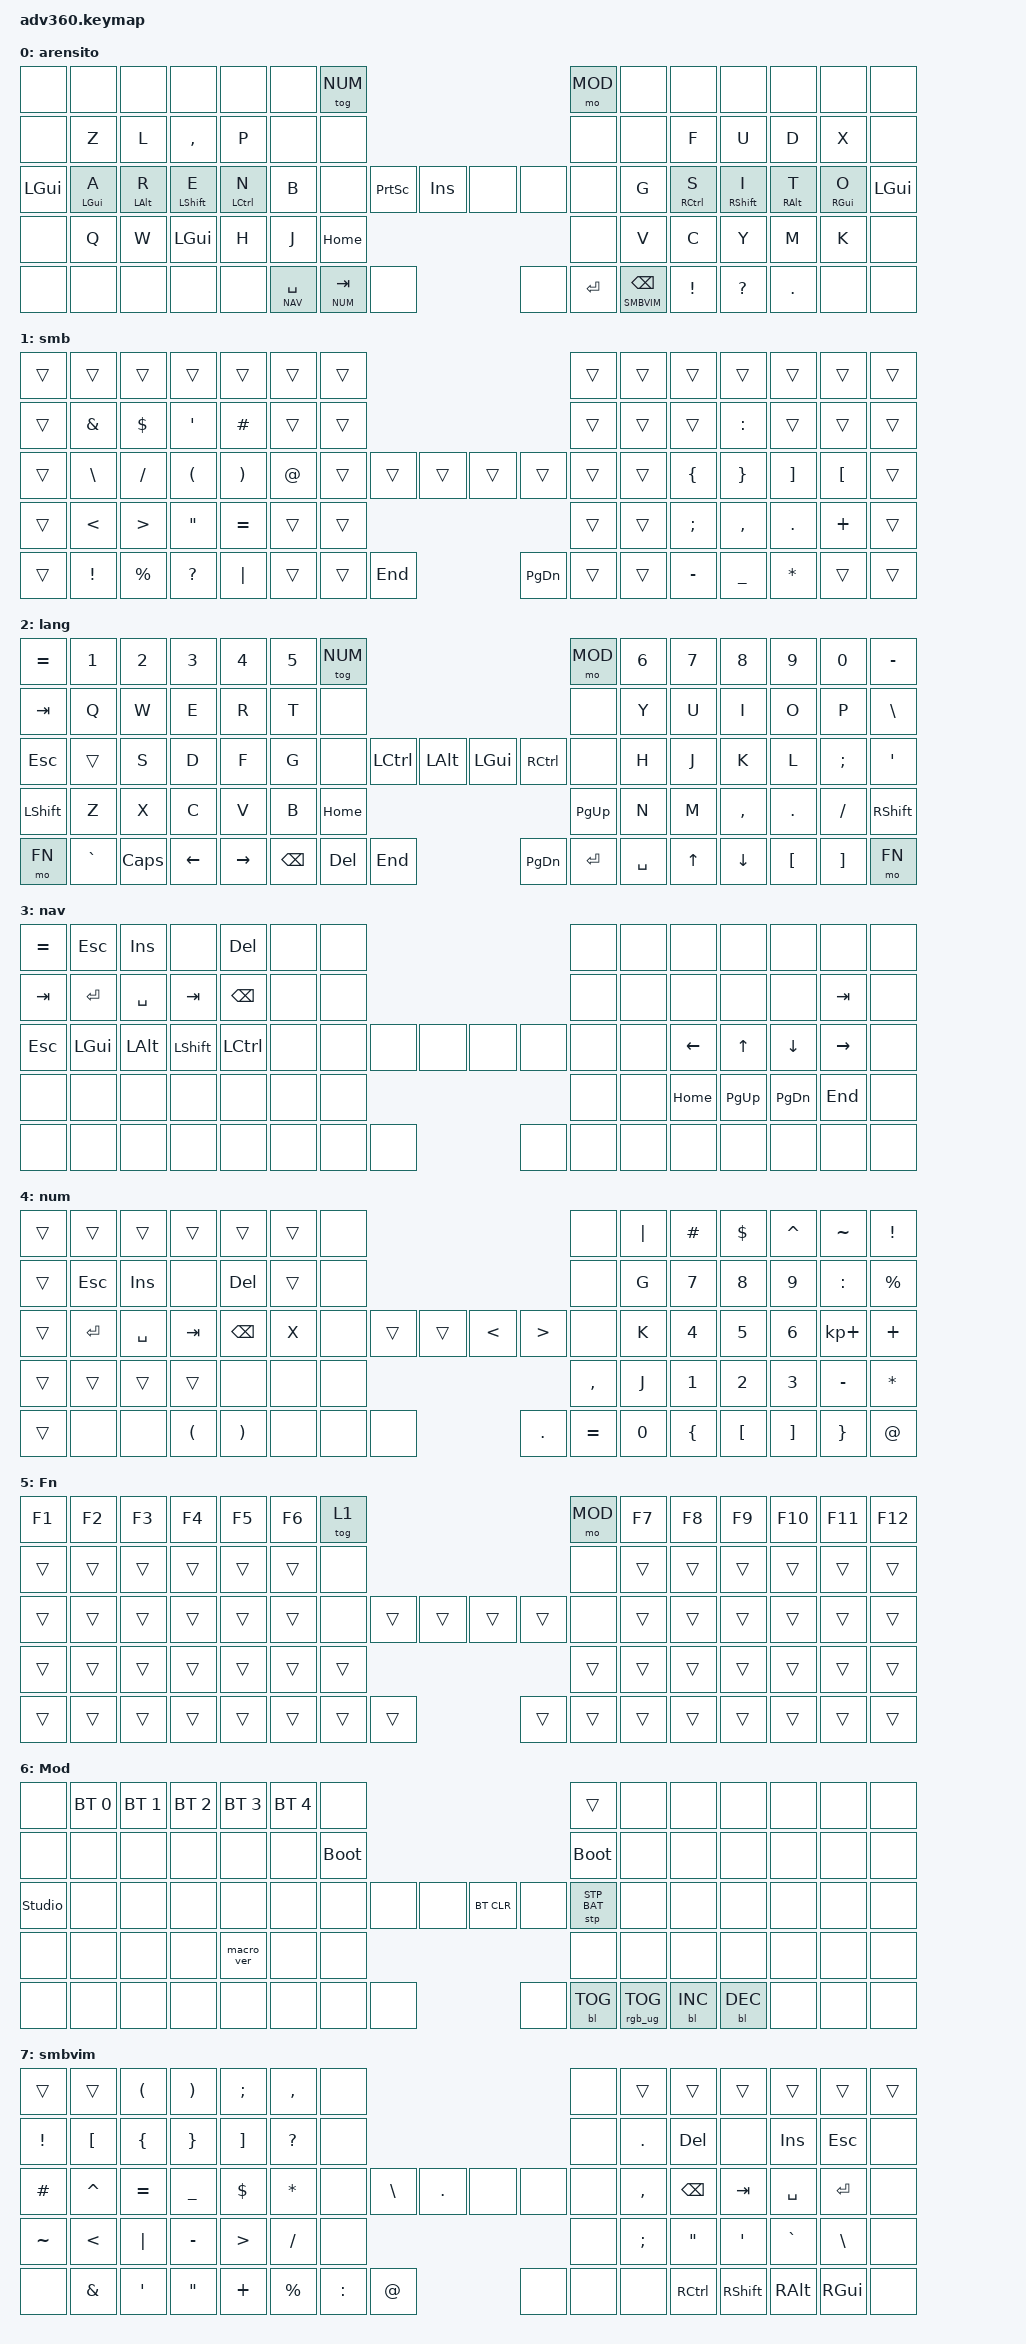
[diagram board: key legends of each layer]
#include <behaviors.dtsi>
#include <dt-bindings/zmk/keys.h>
#include <dt-bindings/zmk/bt.h>
#include <dt-bindings/zmk/rgb.h>
#include <dt-bindings/zmk/stp.h>
#include <dt-bindings/zmk/backlight.h>
#include <dt-bindings/zmk/pointing.h>

#define BASE 0
#define SMB 1
#define LANG 2
#define NAV 3
#define NUM 4
#define FN 5
#define MOD 6
#define SMBVIM 7

/ {
    behaviors {
      #include "macros.dtsi"
      #include "version.dtsi"

      hm: homerow_mods {
          compatible = "zmk,behavior-hold-tap";
          #binding-cells = <2>;
          tapping-term-ms = <120>;
          quick-tap-ms = <80>;
          flavor = "tap-preferred";
          bindings = <&kp>, <&kp>;
      };
      mokp: move_mods {
          compatible = "zmk,behavior-hold-tap";
          #binding-cells = <2>;
          tapping-term-ms = <120>;
          quick-tap-ms = <80>;
          flavor = "tap-preferred";
          bindings = <&mo>, <&kp>;
      };
    };

  keymap {
    compatible = "zmk,keymap";

    arensito {
      display-name = "arensito";
      bindings = <
        //╭───────────┬────────────┬────────────┬──────────────┬─────────────┬──────────┬──────────╮                                                                                      ╭───────┬────────┬─────────────┬──────────────┬────────────┬───────────────┬───────────╮
        //│           │            │            │              │             │          │          │                                                                                      │       │        │             │              │            │               │           │
            &none       &none        &none        &none          &none         &none      &tog NUM                                                                                          &mo MOD &none    &none         &none          &none        &none           &none
        //├───────────┼────────────┼────────────┼──────────────┼─────────────┼──────────┼──────────┤                                                                                      ├───────┼────────┼─────────────┼──────────────┼────────────┼───────────────┼───────────┤
        //│           │            │            │              │             │          │          │                                                                                      │       │        │             │              │            │               │           │
            &none       &kp Z        &kp L        &kp COMMA      &kp P         &none      &none                                                                                             &none   &none    &kp F         &kp U          &kp D        &kp X           &none
        //├───────────┼────────────┼────────────┼──────────────┼─────────────┼──────────┼──────────┤                 ╭───────────┬──────────╮  ╭───────────┬────────────╮                 ├───────┼────────┼─────────────┼──────────────┼────────────┼───────────────┼───────────┤
        //│ LGUI      │            │            │              │             │          │          │                 │           │          │  │           │            │                 │       │        │             │              │            │               │ LGUI      │
            &kp LGUI    &hm LGUI A   &hm LALT R   &hm LSHIFT E   &hm LCTRL N   &kp B      &none                        &kp PSCRN    &kp INS      &none       &none                          &none   &kp G    &hm RCTRL S   &hm RSHIFT I   &hm RALT T   &hm RGUI O      &kp LGUI
        //├───────────┼────────────┼────────────┼──────────────┼─────────────┼──────────┼──────────╯     ╭───────────┼───────────┼──────────┤  ├───────────┼────────────┼───────────╮     ╰───────┼────────┼─────────────┼──────────────┼────────────┼───────────────┼───────────┤
        //│           │            │            │              │             │          │                │           │           │          │  │           │            │           │             │        │             │              │            │               │           │
            &none       &kp Q        &kp W        &kp LGUI       &kp H         &kp J                                               &kp HOME      &none                                              &kp V    &kp C         &kp Y          &kp M        &kp K           &none
        //├───────────┼────────────┼────────────┼──────────────┼─────────────┼──────────╯                │           │           ├──────────┤  ├───────────┤            │           │             ╰────────┼─────────────┼──────────────┼────────────┼───────────────┼───────────┤
        //│           │ { [        │ ] }        │ | \          │             │                           │ Space nav │ Tab num   │          │  │           │ mouse      │ smbvim    │                      │             │              │            │               │           │
            &none       &none        &none        &none          &none                                     &mokp NAV SPACE &mokp NUM TAB &none   &none       &kp ENTER    &mokp SMBVIM BSPC                  &kp EXCL      &kp QMARK      &kp DOT      &none           &none
        //╰───────────┴────────────┴────────────┴──────────────┴─────────────╯                           ╰───────────┴───────────┴──────────╯  ╰───────────┴────────────┴───────────╯                      ╰─────────────┴──────────────┴────────────┴───────────────┴───────────╯
      >;
    };
    symbols {
      display-name = "smb";
      bindings = <
        //╭───────────┬────────────┬────────────┬──────────────┬─────────────┬──────────┬──────────╮                                                                                     ╭───────┬─────────────┬─────────────┬──────────────┬────────────┬───────────────┬───────────╮
        //│           │            │            │              │             │          │          │                                                                                     │       │             │             │              │            │               │           │
            &trans      &trans       &trans       &trans         &trans        &trans     &trans                                                                                           &trans  &trans        &trans        &trans         &trans       &trans          &trans
        //├───────────┼────────────┼────────────┼──────────────┼─────────────┼──────────┼──────────┤                                                                                     ├───────┼─────────────┼─────────────┼──────────────┼────────────┼───────────────┼───────────┤
        //│           │     &      │     $      │     '        │     #       │          │          │                                                                                     │       │             │             │     :        │            │               │           │
            &trans      &kp AMPS     &kp DLLR     &kp APOS       &kp HASH      &trans     &trans                                                                                           &trans  &trans        &trans        &kp COLON      &trans       &trans          &trans
        //├───────────┼────────────┼────────────┼──────────────┼─────────────┼──────────┼──────────┤                ╭───────────┬──────────╮  ╭───────────┬────────────╮                 ├───────┼─────────────┼─────────────┼──────────────┼────────────┼───────────────┼───────────┤
        //│           │     \      │     /      │     (        │     )       │     @    │          │                │           │          │  │           │            │                 │       │             │     {       │     }        │     ]      │     [         │           │
            &trans      &kp BSLH     &kp FSLH     &kp LPAR       &kp RPAR      &kp AT     &trans                      &trans      &trans        &trans      &trans                         &trans  &trans        &kp LBRC      &kp RBRC       &kp RBKT     &kp LBKT        &trans
        //├───────────┼────────────┼────────────┼──────────────┼─────────────┼──────────┼──────────╯     ╭──────────┼───────────┼──────────┤  ├───────────┼────────────┼───────────╮     ╰───────┼─────────────┼─────────────┼──────────────┼────────────┼───────────────┼───────────┤
        //│           │     <      │     >      │     "        │     =       │          │                │          │           │          │  │           │            │           │             │             │     ;       │    ,         │    .       │               │           │
            &trans      &kp LT       &kp GT       &kp DQT        &kp EQUAL     &trans                                             &trans        &trans                                             &trans        &kp SEMI      &kp COMMA      &kp DOT      &kp PLUS          &trans
        //├───────────┼────────────┼────────────┼──────────────┼─────────────┼──────────╯                │          │           ├──────────┤  ├───────────┤            │           │             ╰─────────────┼─────────────┼──────────────┼────────────┼───────────────┼───────────┤
        //│           │     !      │     %      │     ?        │     |       │                           │          │           │          │  │           │            │           │                           │     -       │     _        │            │               │           │
            &trans      &kp EXCL     &kp PRCNT    &kp QMARK      &kp PIPE                                  &trans     &trans      &kp END       &kp PG_DN   &trans       &trans                                  &kp MINUS     &kp UNDER      &kp ASTRK    &trans          &trans
        //╰───────────┴────────────┴────────────┴──────────────┴─────────────╯                           ╰──────────┴───────────┴──────────╯  ╰───────────┴────────────┴───────────╯                           ╰─────────────┴──────────────┴────────────┴───────────────┴───────────╯
      >;
    };
    language {
      display-name = "lang";
      bindings = <
        //╭───────────┬────────────┬────────────┬──────────────┬─────────────┬──────────┬──────────╮                                                                                     ╭───────┬─────────────┬──────────────┬─────────────┬────────────┬───────────────┬───────────╮
        //│           │            │            │              │             │          │          │                                                                                     │       │             │              │             │            │               │           │
            &kp EQUAL   &kp N1       &kp N2       &kp N3         &kp N4        &kp N5     &tog NUM                                                                                         &mo MOD   &kp N6        &kp N7         &kp N8        &kp N9       &kp N0       &kp MINUS
        //├───────────┼────────────┼────────────┼──────────────┼─────────────┼──────────┼──────────┤                                                                                     ├───────┼─────────────┼──────────────┼─────────────┼────────────┼───────────────┼───────────┤
        //│           │            │            │              │             │          │          │                                                                                     │       │             │              │             │            │               │           │
            &kp TAB     &kp Q        &kp W        &kp E          &kp R         &kp T      &none                                                                                            &none   &kp Y         &kp U         &kp I          &kp O        &kp P            &kp BSLH
        //├───────────┼────────────┼────────────┼──────────────┼─────────────┼──────────┼──────────┤                ╭───────────┬──────────╮  ╭───────────┬────────────╮                 ├───────┼─────────────┼─────────────┼──────────────┼────────────┼───────────────┼───────────┤
        //│           │            │            │              │             │          │          │                │           │          │  │           │            │                 │       │             │             │              │            │               │           │
            &kp ESC     &trans        &kp S        &kp D          &kp F         &kp G      &none                       &kp LCTRL   &kp LALT      &kp LGUI     &kp RCTRL                     &none   &kp H         &kp J         &kp K          &kp L        &kp SEMI        &kp SQT
        //├───────────┼────────────┼────────────┼──────────────┼─────────────┼──────────┼──────────╯     ╭──────────┼───────────┼──────────┤  ├───────────┼────────────┼───────────╮     ╰───────┼─────────────┼─────────────┼──────────────┼────────────┼───────────────┼───────────┤
        //│           │            │            │              │             │          │                │          │           │          │  │           │            │           │             │             │             │              │            │               │           │
            &kp LSHFT   &kp Z        &kp X        &kp C          &kp V         &kp B                                              &kp HOME      &kp PG_UP                                          &kp N         &kp M         &kp COMMA      &kp DOT      &kp FSLH        &kp RSHFT
        //├───────────┼────────────┼────────────┼──────────────┼─────────────┼──────────╯                │          │           ├──────────┤  ├───────────┤            │           │             ╰─────────────┼─────────────┼──────────────┼────────────┼───────────────┼───────────┤
        //│           │            │            │              │             │                           │          │           │          │  │           │            │           │                           │             │              │            │               │           │
            &mo FN      &kp GRAVE    &kp CAPS     &kp LEFT       &kp RIGHT                                 &kp BSPC   &kp DEL     &kp END       &kp PG_DN   &kp ENTER    &kp SPACE                               &kp UP        &kp DOWN       &kp LBKT     &kp RBKT        &mo FN
        //╰───────────┴────────────┴────────────┴──────────────┴─────────────╯                           ╰──────────┴───────────┴──────────╯  ╰───────────┴────────────┴───────────╯                           ╰─────────────┴──────────────┴────────────┴───────────────┴───────────╯
      >;
    };
    navigation {
      display-name = "nav";
      bindings = <
        //╭───────────┬────────────┬────────────┬──────────────┬─────────────┬──────────┬──────────╮                                                                                     ╭───────┬─────────────┬──────────────┬─────────────┬────────────┬───────────────┬───────────╮
        //│           │ Escape     │ Insert     │ Shift-Tab    │ Delete      │          │          │                                                                                     │       │             │              │             │            │               │           │
            &kp EQUAL   &kp ESC       &kp INSERT  &none          &kp DELETE   &none      &none                                                                                           &none    &none         &none          &none         &none        &none           &none
        //├───────────┼────────────┼────────────┼──────────────┼─────────────┼──────────┼──────────┤                                                                                     ├───────┼─────────────┼──────────────┼─────────────┼────────────┼───────────────┼───────────┤
        //│           │ Enter      │ Space      │ Tab          │ backspace   │ cut      │          │                                                                                     │       │ Cut         │ Shift-Tab    │ Undo        │ Redo       │ Tab           │           │
            &kp TAB     &kp ENTER    &kp SPACE    &kp TAB        &kp BSPC      &none      &none                                                                                            &none   &none         &none         &none          &none        &kp TAB         &none
        //├───────────┼────────────┼────────────┼──────────────┼─────────────┼──────────┼──────────┤                ╭───────────┬──────────╮  ╭───────────┬────────────╮                 ├───────┼─────────────┼─────────────┼──────────────┼────────────┼───────────────┼───────────┤
        //│           │            │            │              │             │ copy     │          │                │           │          │  │ extend-line│extend-word│                 │       │ Copy        │ Left        │ Up           │ Down       │ Right         │           │
            &kp ESC     &kp LGUI     &kp LALT     &kp LSHIFT     &kp LCTRL     &none      &none                       &none       &none         &none       &none                          &none   &none         &kp LEFT      &kp UP         &kp DOWN     &kp RIGHT       &none
        //├───────────┼────────────┼────────────┼──────────────┼─────────────┼──────────┼──────────╯     ╭──────────┼───────────┼──────────┤  ├───────────┼────────────┼───────────╮     ╰───────┼─────────────┼─────────────┼──────────────┼────────────┼───────────────┼───────────┤
        //│ Address-Bar│ Select-all│ Select-Line│ Select-word  │ Find        │ paste    │                │          │           │          │  │ sel-none  │            │           │             │ Paste       │ Home        │ Page-Up      │ Page-Down  │ End           │ Adress-Bar│
            &none       &none        &none        &none          &none         &none                                              &none         &none                                              &none         &kp HOME      &kp PG_UP      &kp PG_DN    &kp END         &none
        //├───────────┼────────────┼────────────┼──────────────┼─────────────┼──────────╯                │          │           ├──────────┤  ├───────────┤            │           │             ╰─────────────┼─────────────┼──────────────┼────────────┼───────────────┼───────────┤
        //│ Search-Bar│ Undo       │ Redo       │ Find-Prev    │ Find-Next   │                           │          │           │          │  │ sel-all   │ sel-line   │ sel-word  │                           │ Find        │ Find-Prev    │ Find-Next  │ Find & Replace│ Search-Bar│
            &none       &none        &none        &none          &none                                     &none      &none       &none         &none       &none        &none                                   &none         &none          &none        &none           &none 
        //╰───────────┴────────────┴────────────┴──────────────┴─────────────╯                           ╰──────────┴───────────┴──────────╯  ╰───────────┴────────────┴───────────╯                           ╰─────────────┴──────────────┴────────────┴───────────────┴───────────╯
      >;
    };
    numpad {
      display-name = "num";
      bindings = <
        //╭───────────┬────────────┬────────────┬──────────────┬─────────────┬──────────┬──────────╮                                                                                     ╭───────┬─────────────┬──────────────┬─────────────┬────────────┬───────────────┬───────────╮
        //│           │            │            │              │             │          │          │                                                                                     │       │ |           │ #            │ $           │ ^          │ ~             │ !         │
            &trans      &trans       &trans       &trans         &trans        &trans     &none                                                                                           &none    &kp PIPE     &kp HASH        &kp DLLR        &kp CARET   &kp TILDE      &kp EXCL
        //├───────────┼────────────┼────────────┼──────────────┼─────────────┼──────────┼──────────┤                                                                                     ├───────┼─────────────┼──────────────┼─────────────┼────────────┼───────────────┼───────────┤
        //│           │ Escape     │ Insert     │ shift-tab    │ delete      │          │          │                                                                                     │       │ G           │              │             │            │ :             │ %         │
            &trans      &kp ESCAPE   &kp INSERT   &none          &kp DELETE    &trans     &none                                                                                            &none   &kp G         &kp N7         &kp N8        &kp N9       &kp COLON       &kp PRCNT
        //├───────────┼────────────┼────────────┼──────────────┼─────────────┼──────────┼──────────┤                ╭───────────┬──────────╮  ╭───────────┬────────────╮                 ├───────┼─────────────┼─────────────┼──────────────┼────────────┼───────────────┼───────────┤
        //│           │ Enter      │ Space      │ Tab          │  Backspace  │ x        │          │                │           │          │  │ <         │ >          │                 │       │ k           │             │              │            │ -             │ +         │
            &trans      &kp ENTER    &kp SPACE    &kp TAB        &kp BSPC      &kp X      &none                       &trans      &trans        &kp LT      &kp GT                         &none   &kp K        &kp N4        &kp N5         &kp N6       &kp KP_PLUS     &kp PLUS
        //├───────────┼────────────┼────────────┼──────────────┼─────────────┼──────────┼──────────╯     ╭──────────┼───────────┼──────────┤  ├───────────┼────────────┼───────────╮     ╰───────┼─────────────┼─────────────┼──────────────┼────────────┼───────────────┼───────────┤
        //│           │ select-all │ sel-line   │ sel-word     │  find       │          │                │          │           │          │  │ ,         │            │           │             │ j           │             │              │            │               │ *         │
            &trans      &trans        &trans      &trans          &none        &none                                              &none         &kp COMMA                                          &kp J         &kp N1        &kp N2         &kp N3       &kp MINUS       &kp ASTRK
        //├───────────┼────────────┼────────────┼──────────────┼─────────────┼──────────╯                │          │           ├──────────┤  ├───────────┤            │           │             ╰─────────────┼─────────────┼──────────────┼────────────┼───────────────┼───────────┤
        //│           │ undo       │ redo       │ (            │ )           │                           │          │           │          │  │ .         │ =          │           │                           │ {           │ [            │ ]          │ }             │ @         │
            &trans      &none         &none        &kp LPAR       &kp RPAR                                  &none      &none       &none         &kp DOT     &kp EQUAL    &kp N0                                  &kp LBRC      &kp LBKT       &kp RBKT     &kp RBRC        &kp AT
        //╰───────────┴────────────┴────────────┴──────────────┴─────────────╯                           ╰──────────┴───────────┴──────────╯  ╰───────────┴────────────┴───────────╯                           ╰─────────────┴──────────────┴────────────┴───────────────┴───────────╯
      >;
    };
    fn {
      display-name = "Fn";
      bindings = <
        &kp F1 &kp F2 &kp F3 &kp F4 &kp F5 &kp F6 &tog 1                                           &mo MOD &kp F7 &kp F8 &kp F9 &kp F10 &kp F11 &kp F12
        &trans &trans &trans &trans &trans &trans  &none                                           &none &trans &trans &trans &trans  &trans  &trans
        &trans &trans &trans &trans &trans &trans  &none        &trans &trans &trans &trans        &none &trans &trans &trans &trans  &trans  &trans
        &trans &trans &trans &trans &trans &trans                      &trans &trans                     &trans &trans &trans &trans  &trans  &trans
        &trans &trans &trans &trans &trans               &trans &trans &trans &trans &trans &trans              &trans &trans &trans  &trans  &trans
      >;
    };
    mod {
      display-name = "Mod";
      bindings = <
        &none &bt BT_SEL 0 &bt BT_SEL 1 &bt BT_SEL 2 &bt BT_SEL 3 &bt BT_SEL 4 &none                                                                     &trans                 &none        &none        &none        &none &none &none
        &none &none        &none        &none        &none        &none        &bootloader                                                               &bootloader            &none        &none        &none        &none &none &none
        &studio_unlock &none        &none        &none        &none        &none        &none                   &none &none &bt BT_CLR &none                      &stp STP_BAT &none        &none        &none        &none &none &none
        &none &none        &none        &none        &macro_ver   &none                                      &none &none                                                        &none        &none        &none        &none &none &none
        &none &none        &none        &none        &none                                       &none &none &none &none      &bl BL_TOG &rgb_ug RGB_TOG                                     &bl BL_INC   &bl BL_DEC   &none &none &none
      >;
    };
    symbol_vim {
      display-name = "smbvim";
      bindings = <
        //╭───────────┬────────────┬────────────┬──────────────┬─────────────┬──────────┬──────────╮                                                                                     ╭───────┬─────────────┬──────────────┬─────────────┬────────────┬───────────────┬───────────╮
        //│           │            │ (          │ )            │ ;           │ ,        │          │                                                                                     │       │             │              │             │            │               │           │
            &trans      &trans       &kp LPAR     &kp RPAR       &kp SEMI      &kp COMMA  &none                                                                                            &none   &trans        &trans         &trans        &trans       &trans          &trans
        //├───────────┼────────────┼────────────┼──────────────┼─────────────┼──────────┼──────────┤                                                                                     ├───────┼─────────────┼──────────────┼─────────────┼────────────┼───────────────┼───────────┤
        //│ !         │ [          │ {          │ }            │ ]           │ ?        │          │                                                                                     │       │ .           │              │ Shifttab    │            │               │           │
            &kp EXCL    &kp LBKT     &kp LBRC     &kp RBRC       &kp RBKT      &kp QMARK  &none                                                                                            &none   &kp DOT       &kp DEL        &none         &kp INSERT   &kp ESC         &none
        //├───────────┼────────────┼────────────┼──────────────┼─────────────┼──────────┼──────────┤                ╭───────────┬──────────╮  ╭───────────┬────────────╮                 ├───────┼─────────────┼─────────────┼──────────────┼────────────┼───────────────┼───────────┤
        //│ #         │ ^          │ =          │ _            │ $           │ *        │          │                │ \         │ .        │  │           │            │                 │       │ ,           │             │              │            │               │           │
            &kp HASH    &kp CARET    &kp EQUAL    &kp UNDER      &kp DLLR      &kp ASTRK  &none                       &kp BSLH    &kp DOT       &none       &none                          &none   &kp COMMA     &kp BSPC      &kp TAB        &kp SPACE    &kp ENTER       &none
        //├───────────┼────────────┼────────────┼──────────────┼─────────────┼──────────┼──────────╯     ╭──────────┼───────────┼──────────┤  ├───────────┼────────────┼───────────╮     ╰───────┼─────────────┼─────────────┼──────────────┼────────────┼───────────────┼───────────┤
        //│ ~         │ <          │  |         │ -            │ >           │ /        │                │          │           │          │  │           │            │           │             │ ;           │ "           │ '            │ `          │ \             │           │
            &kp TILDE   &kp LT       &kp PIPE     &kp MINUS      &kp GT        &kp FSLH                                           &none         &none                                              &kp SEMI      &kp DQT       &kp APOS       &kp GRAVE    &kp BSLH        &none
        //├───────────┼────────────┼────────────┼──────────────┼─────────────┼──────────╯                │          │           ├──────────┤  ├───────────┤            │           │             ╰─────────────┼─────────────┼──────────────┼────────────┼───────────────┼───────────┤
        //│           │ &          │ '          │ "            │ +           │                           │ %        │ :         │ @        │  │           │            │           │                           │ shift       │ ctr          │ alt        │  WIN          │           │
            &none       &kp AMPS     &kp APOS     &kp DQT        &kp PLUS                                  &kp PRCNT  &kp COLON   &kp AT        &none       &none        &none                                   &kp RCTRL    &kp RSHIFT       &kp RALT     &kp RGUI          &none
        //╰───────────┴────────────┴────────────┴──────────────┴─────────────╯                           ╰──────────┴───────────┴──────────╯  ╰───────────┴────────────┴───────────╯                           ╰─────────────┴──────────────┴────────────┴───────────────┴───────────╯
      >;
    };
  };
};
